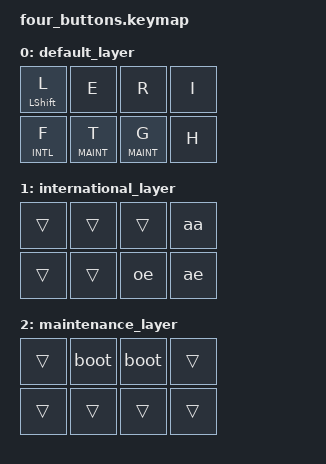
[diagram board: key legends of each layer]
// Using SCLK as a modifier for compose, since compose does not seem
// to be standard USB HID.
// This requires the OS to interpret scroll lock as compose, which is achievable
// in Linux with:
// setxkbmap -option compose:sclk

#include <behaviors.dtsi>
#include <dt-bindings/zmk/keys.h>

#define BASE 0
#define INTL 1
#define MAINT 2

#define CMP SCLK

/ {
    macros {
        aa: aa {
            compatible = "zmk,behavior-macro";
            #binding-cells = <0>;
            bindings
                = <&macro_tap &kp CMP &unshft_o &kp A>;
        };
        ae: ae {
            compatible = "zmk,behavior-macro";
            #binding-cells = <0>;
            bindings
                // DQT is already a shifted sequence, no need to unshift.
                = <&macro_tap &kp CMP &kp DQT &kp A>;
        };
        oe: oe {
            compatible = "zmk,behavior-macro";
            #binding-cells = <0>;
            bindings
                // DQT is already a shifted sequence, no need to unshift.
                = <&macro_tap &kp CMP &kp DQT &kp O>;
        };
    };

    behaviors {
        boot: tap_dance_1 {
            compatible = "zmk,behavior-tap-dance";
            #binding-cells = <0>;
            tapping-term-ms = <200>;
            bindings = <&kp R>, <&sys_reset>, <&bootloader>;
        };
        // Unshifted chars are useful to send compose sequences, so that
        // holding shift while sending the sequence does not affect that
        // character.
        unshft_o: unshifted_o {
            compatible = "zmk,behavior-mod-morph";
            #binding-cells = <0>;
            bindings = <&kp O>, <&kp O>;
            mods = <(MOD_LSFT|MOD_RSFT)>;
        };
    };

    keymap {
        compatible = "zmk,keymap";

        default_layer { // Layer 0
            // -------------------------------------------------
            // |     L     |     E     |     R     |     I     |
            // |     F     |     T     |     G     |     H     |
            bindings = <
                &mt LSHIFT L    &kp E           &kp R          &kp I
                &lt INTL F      &lt MAINT T     &lt MAINT G    &kp H
            >;
        };

        international_layer {
            bindings =  <
                &trans    &trans        &trans    &aa
                &trans    &trans        &oe       &ae
            >;
        };

        maintenance_layer {
            bindings =  <
                &trans    &boot         &boot      &trans
                &trans    &trans        &trans     &trans
            >;
        };
};
 };
